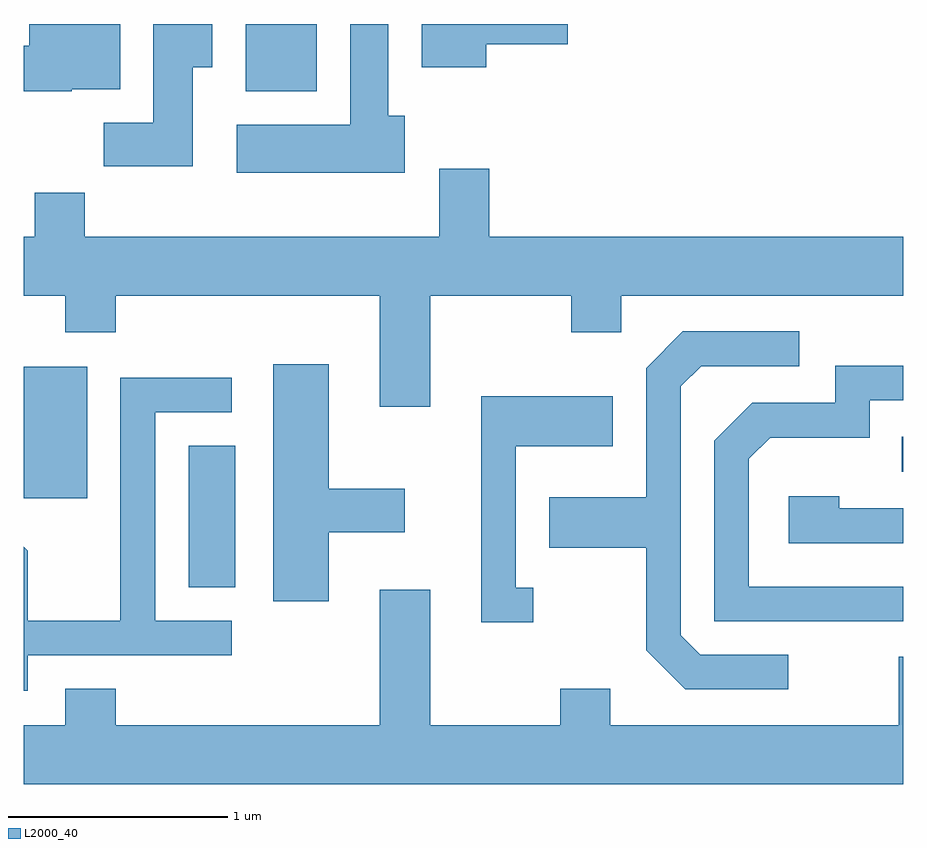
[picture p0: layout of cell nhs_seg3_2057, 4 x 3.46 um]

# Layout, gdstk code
import gdstk
lib = gdstk.Library(unit=1e-6, precision=1e-09)
def R(c, l, rs):  # rectangles x0, y0, x1, y1
    for r in rs: c.add(gdstk.rectangle(r[:2], r[2:], *l))
def P(c, l, *ps):  # polygons
    for p in ps: c.add(gdstk.Polygon(p, *l))
L2000_40 = (2000, 40)

nhs_seg3_2057 = lib.new_cell('nhs_seg3_2057')
R(nhs_seg3_2057, L2000_40, [(246.361,1151.331,246.574,1151.974), (245.611,1151.736,245.899,1152.334), (249.603,1151.856,249.611,1152.014), (246.621,1153.586,246.944,1153.892)])
P(nhs_seg3_2057, L2000_40, [(245.83,1153.596),(246.049,1153.596),(246.049,1153.892),(245.636,1153.892),(245.636,1153.794),(245.611,1153.794),(245.611,1153.586),(245.83,1153.586)],
  [(246.379,1153.696),(246.469,1153.696),(246.469,1153.892),(246.201,1153.892),(246.201,1153.444),(245.976,1153.444),(245.976,1153.246),(246.379,1153.246)],
  [(247.714,1153.801),(248.084,1153.801),(248.084,1153.892),(247.421,1153.892),(247.421,1153.696),(247.714,1153.696)],
  [(247.344,1153.474),(247.269,1153.474),(247.269,1153.892),(247.096,1153.892),(247.096,1153.434),(246.581,1153.434),(246.581,1153.216),(247.344,1153.216)],
  [(247.459,1152.656),(248.101,1152.656),(248.101,1152.491),(248.329,1152.491),(248.329,1152.656),(249.611,1152.656),(249.611,1152.924),(247.729,1152.924),(247.729,1153.234),(247.501,1153.234),(247.501,1152.924),(245.889,1152.924),(245.889,1153.124),(245.661,1153.124),(245.661,1152.924),(245.611,1152.924),(245.611,1152.656),(245.801,1152.656),(245.801,1152.491),(246.029,1152.491),(246.029,1152.656),(247.231,1152.656),(247.231,1152.151),(247.459,1152.151)],
  [(249.088,1151.024),(248.687,1151.024),(248.599,1151.112),(248.599,1152.244),(248.692,1152.336),(249.138,1152.336),(249.138,1152.494),(248.609,1152.494),(248.441,1152.327),(248.441,1151.739),(248.001,1151.739),(248.001,1151.511),(248.441,1151.511),(248.441,1151.044),(248.619,1150.866),(249.088,1150.866)],
  [(246.999,1151.581),(247.344,1151.581),(247.344,1151.779),(246.999,1151.779),(246.999,1152.344),(246.746,1152.344),(246.746,1151.266),(246.999,1151.266)],
  [(249.611,1151.334),(248.909,1151.334),(248.909,1151.914),(249.007,1152.011),(249.459,1152.011),(249.459,1152.181),(249.611,1152.181),(249.611,1152.339),(249.301,1152.339),(249.301,1152.169),(248.924,1152.169),(248.751,1151.997),(248.751,1151.176),(249.611,1151.176)],
  [(245.629,1151.021),(246.558,1151.021),(246.558,1151.179),(246.209,1151.179),(246.209,1152.126),(246.558,1152.126),(246.558,1152.284),(246.051,1152.284),(246.051,1151.179),(245.629,1151.179),(245.629,1151.497),(245.611,1151.515),(245.611,1150.861),(245.629,1150.861)],
  [(247.928,1151.329),(247.849,1151.329),(247.849,1151.971),(248.289,1151.971),(248.289,1152.199),(247.691,1152.199),(247.691,1151.171),(247.928,1151.171)],
  [(249.611,1151.689),(249.319,1151.689),(249.319,1151.744),(249.091,1151.744),(249.091,1151.531),(249.611,1151.531)],
  [(249.611,1151.014),(249.591,1151.014),(249.591,1150.704),(248.279,1150.704),(248.279,1150.869),(248.051,1150.869),(248.051,1150.704),(247.459,1150.704),(247.459,1151.319),(247.231,1151.319),(247.231,1150.704),(246.029,1150.704),(246.029,1150.869),(245.801,1150.869),(245.801,1150.704),(245.611,1150.704),(245.611,1150.436),(249.611,1150.436)])

lib.write_gds('nhs_seg3_2057.gds')
